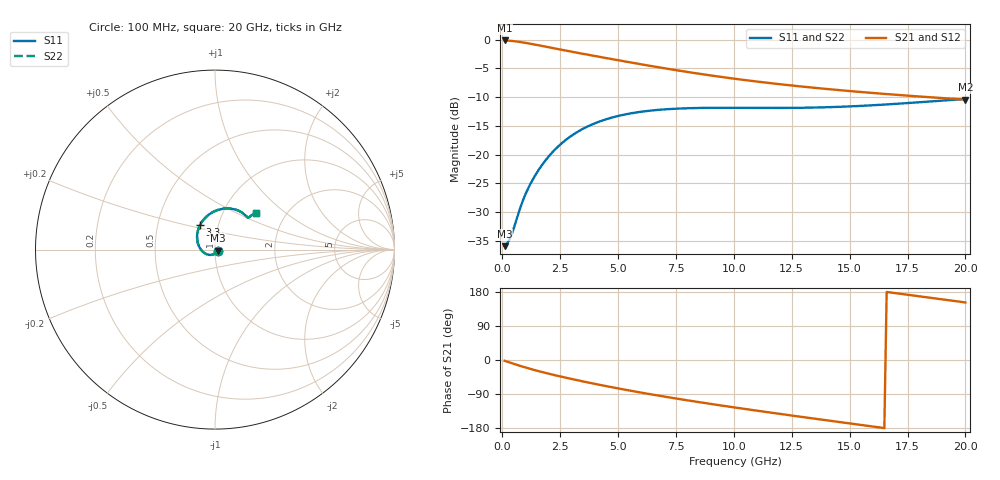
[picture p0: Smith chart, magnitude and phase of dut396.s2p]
! Touchstone file exported from HFSS 2024.1.0
!  File:  C:/UserFiles/LocalFiles/RDL_TSV_Batchsim/temp_RDL_TSV_396_1779648634.aedt
!  Generated:  03:04:22 AM May 25, 2026
!  Design:  RDL_TSV
!  Project:  temp_RDL_TSV_396_1779648634
!  Setup:  Setup1
!  Solution:  Sweep
! Variables:
!  dtsv = 13.56um
!  hbump = 3um
!  htsv = 99.39um
!  ldown = 572.87um
!  lrdl = 207.57um
!  p = 40
!  p1 = 54.27um
!  rhole = 10um
!  subl = 2548.89um
!  t = 450um
!  tdown = 2.23um
!  trdl = 4.8um
!  viad = 10um
!  wdown = 25.44um
!  wrdl = 13.76um
!  xbump = 18um
# GHz S MA R 50.000000
! Terminal data exported
! Port[1] = TM1_1_T1
! Port[2] = TM1_4_T1
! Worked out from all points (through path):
!   200 points, 100 MHz to 20 GHz, reference 50 ohm
!   highest |S21| = -0.14 dB at 100 MHz (marker M1); lowest = -10.4 dB at 20 GHz (marker M2)
!   group delay of S21, straight-line fit = 27 ps
!   lowest |S11| = -35.9 dB at 100 MHz (marker M3), VSWR 1.03, Z = 51.5 - j0.541 ohm
!   |S11| at or under -10 dB: start of sweep to end of sweep
!   |S22| runs from -35.9 to -10.3 dB; largest |S21 - S12| = 8.4e-15
!   S11 on the Smith chart (normalised r, x): 100 MHz: 1.03, -0.01; 3.3 GHz: 0.82, +0.23; 20 GHz: 1.42, +0.63
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0.1  0.01594 -19.2  0.9838 -2.1  0.9838 -2.1  0.01594 -19.2
! Gamma 0 0 0 0
! Port Impedance 50 0 50 0
0.2  0.0167 -38.2  0.9818 -4.2  0.9818 -4.2  0.01675 -37.9
0.4  0.0201 -73.6  0.9748 -8.3  0.9748 -8.3  0.01992 -72.5
0.6  0.02662 -102.6  0.9648 -12.2  0.9648 -12.2  0.02572 -102.5
0.8  0.0355 -123.6  0.9523 -16.1  0.9523 -16.1  0.03495 -125.1
1  0.04506 -139.7  0.9381 -19.7  0.9381 -19.7  0.04526 -140.7
1.5  0.06991 -171.5  0.8986 -28.3  0.8986 -28.3  0.07017 -171.6
1.9  0.09082 168.5  0.8663 -34.6  0.8663 -34.6  0.091 168.4
2.3  0.1118 152.1  0.8352 -40.5  0.8352 -40.5  0.112 152.0
2.8  0.1369 135.3  0.7986 -47.5  0.7986 -47.5  0.1371 135.2
3.3  0.1597 121.5  0.7645 -54.1  0.7645 -54.1  0.16 121.5
3.5  0.1681 116.7  0.7515 -56.7  0.7515 -56.7  0.1684 116.6
4.2  0.1939 102.1  0.708 -65.5  0.708 -65.5  0.1943 102.0
5  0.2165 88.8  0.662 -75.0  0.662 -75.0  0.217 88.8
5.9  0.2343 77.1  0.6148 -85.0  0.6148 -85.0  0.2349 77.1
6.8  0.2455 68.0  0.5723 -94.6  0.5723 -94.6  0.2462 67.9
8.4  0.2541 56.4  0.5084 -110.3  0.5084 -110.3  0.2549 56.4
10.1  0.2551 49.1  0.4549 -125.9  0.4549 -125.9  0.256 49.0
11.7  0.2544 45.5  0.4155 -139.8  0.4155 -139.8  0.2553 45.3
13.4  0.2562 43.9  0.3822 -154.1  0.3822 -154.1  0.2571 43.7
16.7  0.2737 43.4  0.3347 178.7  0.3347 178.7  0.2743 43.2
20  0.3043 41.8  0.3006 151.9  0.3006 151.9  0.3047 41.5
